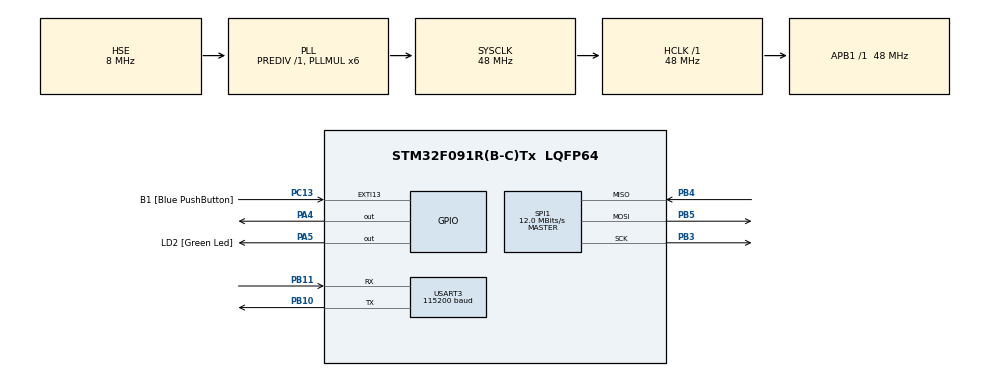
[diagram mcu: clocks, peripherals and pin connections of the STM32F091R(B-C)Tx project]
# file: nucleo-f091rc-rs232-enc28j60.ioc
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Dma.Request0=USART3_RX
Dma.Request1=USART3_TX
Dma.USART3_RX.0.DMA1_Remap_Macro_Arg=HAL_DMA1_CH1_USART3_RX
Dma.USART3_RX.0.Direction=DMA_PERIPH_TO_MEMORY
Dma.USART3_RX.0.Instance=DMA1_Channel1
Dma.USART3_RX.0.MemDataAlignment=DMA_MDATAALIGN_BYTE
Dma.USART3_RX.0.MemInc=DMA_MINC_ENABLE
Dma.USART3_RX.0.Mode=DMA_CIRCULAR
Dma.USART3_RX.0.PeriphDataAlignment=DMA_PDATAALIGN_BYTE
Dma.USART3_RX.0.PeriphInc=DMA_PINC_DISABLE
Dma.USART3_RX.0.Priority=DMA_PRIORITY_LOW
Dma.USART3_RX.0.Request=DMA_REQUEST_10
Dma.USART3_TX.1.DMA1_Remap_Macro_Arg=HAL_DMA1_CH2_USART3_TX
Dma.USART3_TX.1.Direction=DMA_MEMORY_TO_PERIPH
Dma.USART3_TX.1.Instance=DMA1_Channel2
Dma.USART3_TX.1.MemDataAlignment=DMA_MDATAALIGN_BYTE
Dma.USART3_TX.1.MemInc=DMA_MINC_DISABLE
Dma.USART3_TX.1.Mode=DMA_NORMAL
Dma.USART3_TX.1.PeriphDataAlignment=DMA_PDATAALIGN_BYTE
Dma.USART3_TX.1.PeriphInc=DMA_PINC_DISABLE
Dma.USART3_TX.1.Priority=DMA_PRIORITY_LOW
Dma.USART3_TX.1.Request=DMA_REQUEST_10
Mcu.Family=STM32F0
Mcu.Name=STM32F091R(B-C)Tx
Mcu.Package=LQFP64
NVIC.DMA1_Ch1_IRQn=true\:0\:0\:false
NVIC.DMA1_Ch2_3_DMA2_Ch1_2_IRQn=true\:0\:0\:false
NVIC.SPI1_IRQn=true\:0\:0\:false
PA13.GPIO_Label=TMS
PA13.Mode=Serial-WireDebug
PA13.Signal=SYS_SWDIO
PA14.GPIO_Label=TCK
PA14.Mode=Serial-WireDebug
PA14.Signal=SYS_SWCLK
PA2.GPIO_Label=USART_TX
PA2.GPIO_Mode=GPIO_MODE_AF_PP
PA2.GPIO_PuPd=GPIO_NOPULL
PA2.GPIO_Speed=GPIO_SPEED_LOW
PA2.Signal=USART2_TX
PA3.GPIO_Label=USART_RX
PA3.GPIO_Mode=GPIO_MODE_AF_PP
PA3.GPIO_PuPd=GPIO_NOPULL
PA3.GPIO_Speed=GPIO_SPEED_LOW
PA3.Signal=USART2_RX
PA4.Signal=GPIO_Output
PA5.GPIO_Label=LD2 [Green Led]
PA5.GPIO_Mode=GPIO_MODE_OUTPUT_PP
PA5.GPIO_ModeDefaultOutputPP=GPIO_MODE_OUTPUT_PP
PA5.GPIO_PuPd=GPIO_NOPULL
PA5.GPIO_Speed=GPIO_SPEED_LOW
PA5.Signal=GPIO_Output
PB10.Mode=Asynchronous
PB10.Signal=USART3_TX
PB11.Mode=Asynchronous
PB11.Signal=USART3_RX
PB3.Mode=Full_Duplex_Master
PB3.Signal=SPI1_SCK
PB4.Mode=Full_Duplex_Master
PB4.Signal=SPI1_MISO
PB5.Mode=Full_Duplex_Master
PB5.Signal=SPI1_MOSI
PC13.GPIO_Label=B1 [Blue PushButton]
PC13.GPIO_ModeDefaultEXTI=GPIO_MODE_EVT_RISING
PC13.GPIO_PuPd=GPIO_NOPULL
PC13.Signal=GPXTI13
PC14OSC32_IN.Signal=RCC_OSC32_IN
PC15OSC32_OUT.Signal=RCC_OSC32_OUT
PF0-OSC_IN.Mode=HSE-External-Clock-Source
PF0-OSC_IN.Signal=RCC_OSC_IN
PF1-OSC_OUT.Signal=RCC_OSC_OUT
ProjectManager.TargetToolchain=SW4STM32
RCC.AHBFreq_Value=48000000
RCC.APB1Freq_Value=48000000
RCC.APB1TimFreq_Value=48000000
RCC.FLatency-AdvancedSettings=FLASH_LATENCY_1
RCC.HCLKFreq_Value=48000000
RCC.PLLMUL=RCC_PLL_MUL6
RCC.PLLSource=RCC_PLLSOURCE_HSE
RCC.PREFETCH_ENABLE-AdvancedSettings=1
RCC.SYSCLKFreq_VALUE=48000000
RCC.SYSCLKSource=RCC_SYSCLKSOURCE_PLLCLK
SPI1.BaudRatePrescaler=SPI_BAUDRATEPRESCALER_4
SPI1.CRCCalculation=SPI_CRCCALCULATION_DISABLED
SPI1.CalculateBaudRate=12.0 MBits/s
SPI1.DataSize=SPI_DATASIZE_8BIT
SPI1.Mode=SPI_MODE_MASTER
USART3.BaudRate=115200
USART3.OverSampling=UART_OVERSAMPLING_8
USART3.Parity=UART_PARITY_NONE
USART3.StopBits=UART_STOPBITS_1
USART3.WordLength=UART_WORDLENGTH_8B
board=custom

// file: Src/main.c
/**
  ******************************************************************************
  * File Name          : main.c
  * Description        : Main program body
  ******************************************************************************
  *
  * COPYRIGHT(c) 2015 STMicroelectronics
  *
  * Redistribution and use in source and binary forms, with or without modification,
  * are permitted provided that the following conditions are met:
  *   1. Redistributions of source code must retain the above copyright notice,
  *      this list of conditions and the following disclaimer.
  *   2. Redistributions in binary form must reproduce the above copyright notice,
  *      this list of conditions and the following disclaimer in the documentation
  *      and/or other materials provided with the distribution.
  *   3. Neither the name of STMicroelectronics nor the names of its contributors
  *      may be used to endorse or promote products derived from this software
  *      without specific prior written permission.
  *
  * THIS SOFTWARE IS PROVIDED BY THE COPYRIGHT HOLDERS AND CONTRIBUTORS "AS IS"
  * AND ANY EXPRESS OR IMPLIED WARRANTIES, INCLUDING, BUT NOT LIMITED TO, THE
  * IMPLIED WARRANTIES OF MERCHANTABILITY AND FITNESS FOR A PARTICULAR PURPOSE ARE
  * DISCLAIMED. IN NO EVENT SHALL THE COPYRIGHT HOLDER OR CONTRIBUTORS BE LIABLE
  * FOR ANY DIRECT, INDIRECT, INCIDENTAL, SPECIAL, EXEMPLARY, OR CONSEQUENTIAL
  * DAMAGES (INCLUDING, BUT NOT LIMITED TO, PROCUREMENT OF SUBSTITUTE GOODS OR
  * SERVICES; LOSS OF USE, DATA, OR PROFITS; OR BUSINESS INTERRUPTION) HOWEVER
  * CAUSED AND ON ANY THEORY OF LIABILITY, WHETHER IN CONTRACT, STRICT LIABILITY,
  * OR TORT (INCLUDING NEGLIGENCE OR OTHERWISE) ARISING IN ANY WAY OUT OF THE USE
  * OF THIS SOFTWARE, EVEN IF ADVISED OF THE POSSIBILITY OF SUCH DAMAGE.
  *
  ******************************************************************************
  */
#include "stm32f0xx_hal.h"

/* USER CODE BEGIN Includes */

#include <string.h>
#include "EtherShield.h"
#define NET_BUF_SIZE (1<<10)
#define UART_BUF_SIZE (NET_BUF_SIZE << 2)

#define MAX(a,b) ((a)>(b)?(a):(b))
#define BUF_SIZE MAX(NET_BUF_SIZE, UART_BUF_SIZE)

/* USER CODE END Includes */

SPI_HandleTypeDef hspi1;

UART_HandleTypeDef huart3;
DMA_HandleTypeDef hdma_usart3_rx;
DMA_HandleTypeDef hdma_usart3_tx;

/* USER CODE BEGIN PV */
/* Private variables ---------------------------------------------------------*/

/* USER CODE END PV */

void SystemClock_Config(void);
static void MX_GPIO_Init(void);
static void MX_DMA_Init(void);
static void MX_SPI1_Init(void);
static void MX_USART3_UART_Init(void);

/* USER CODE BEGIN PFP */
/* Private function prototypes -----------------------------------------------*/

void error (float error_num, char infinite) {
	//printf("%u\r\n", error_num);
	if (infinite)
		while (1) {
			int i = 0;
			while (i++ < ((int)((float)(error_num) / 1) + 1) ) {
				GPIOA->BSRR = GPIO_PIN_5;
				HAL_Delay(1000 / error_num);
				GPIOA->BSRR = GPIO_PIN_5 << 16;
				HAL_Delay(1000 / error_num);
			}
		};

	GPIOA->BSRR = GPIO_PIN_5;
	HAL_Delay(1000);
	GPIOA->BSRR = GPIO_PIN_5 << 16;

	int i=0;
	while (i++ < error_num) {
		GPIOA->BSRR = GPIO_PIN_5;
		HAL_Delay(300);
		GPIOA->BSRR = GPIO_PIN_5 << 16;
		HAL_Delay(200);
	}

	HAL_Delay(500);
	NVIC_SystemReset();

	return;
}

static inline void blink(int times, int delay) {
	int i = 0;
	while (i++ < times) {
		GPIOA->BSRR = GPIO_PIN_5;
		HAL_Delay(delay);
		GPIOA->BSRR = GPIO_PIN_5 << 16;
		HAL_Delay(delay);
	}

	return;
}

void ES_PingCallback(void) {
}

uint16_t get_udp_data_len(uint8_t *buf)
{
	int16_t i;
	i=(((int16_t)buf[IP_TOTLEN_H_P])<<8)|(buf[IP_TOTLEN_L_P]&0xff);
	i-=IP_HEADER_LEN;
	i-=8;
	if (i<=0){
		i=0;
	}
	return((uint16_t)i);
}

static uint16_t info_data_len = 0;
uint16_t packetloop_icmp_udp(uint8_t *buf,uint16_t plen)
{
	if(eth_type_is_arp_and_my_ip(buf,plen)){
		if (buf[ETH_ARP_OPCODE_L_P]==ETH_ARP_OPCODE_REQ_L_V){
			// is it an arp request
			make_arp_answer_from_request(buf);
		}
		return(0);

	}
	// check if ip packets are for us:
	if(eth_type_is_ip_and_my_ip(buf,plen)==0){
		return(0);
	}

	if(buf[IP_PROTO_P]==IP_PROTO_ICMP_V && buf[ICMP_TYPE_P]==ICMP_TYPE_ECHOREQUEST_V){
		make_echo_reply_from_request(buf,plen);
		return(0);
	}

	if (buf[IP_PROTO_P]==IP_PROTO_UDP_V) {
		info_data_len=get_udp_data_len(buf);
		return(IP_HEADER_LEN+8+14);
	}

	return(0);
}

/* USER CODE END PFP */

int main(void)
{

  /* MCU Configuration----------------------------------------------------------*/

  /* Reset of all peripherals, Initializes the Flash interface and the Systick. */
  HAL_Init();

  /* Configure the system clock */
  SystemClock_Config();

  /* Initialize all configured peripherals */
  MX_GPIO_Init();
  MX_DMA_Init();
  MX_SPI1_Init();
  MX_USART3_UART_Init();

  /* Infinite loop */
  /* USER CODE BEGIN WHILE */
	static uint8_t uart_buf[UART_BUF_SIZE], *uart_buf_parsed, *uart_buf_filled, *uart_buf_end;

	uint16_t netanswer_initialpacket_len = 0;
	uint8_t  mac[] = {02, 03, 04, 05, 06, 07};
	uint8_t  ip[]  = {10,  4, 33, 123};
	static uint8_t net_buf[NET_BUF_SIZE + 1];
	static uint8_t netanswer_buf[NET_BUF_SIZE + 1];

	uart_buf_parsed =  uart_buf;
	{
		HAL_StatusTypeDef r = HAL_UART_Receive_DMA(&huart3, uart_buf, UART_BUF_SIZE);
		if (r != HAL_OK)
			error(r, 0);
	}
	uart_buf_end    = &uart_buf[UART_BUF_SIZE];

	/* // USART echo node (simple)
	while (1)
	{
		if (HAL_UART_Receive(&huart3, uart_buf, UART_BUF_SIZE, 0) == HAL_OK) {
			HAL_UART_Transmit(&huart3, uart_buf, 1, 0xffffffff);
		}
	}
	*/

	/* // USART echo node (DMA)
	while (1)
	{
		uart_buf_filled = &uart_buf[UART_BUF_SIZE - huart3.hdmarx->Instance->CNDTR];
		while (uart_buf_parsed != uart_buf_filled) {
			uint16_t outlen;

			if (uart_buf_filled > uart_buf_parsed) {
				outlen = uart_buf_filled - uart_buf_parsed;
			} else {
				outlen = uart_buf_end    - uart_buf_parsed;
			}

			HAL_UART_Transmit(&huart3, uart_buf_parsed, outlen, 0xffffffff);

			uart_buf_parsed += outlen;

			if (uart_buf_parsed >= uart_buf_end)
				uart_buf_parsed = uart_buf;
		}
	}
	*/

	ES_enc28j60SpiInit(&hspi1);
	ES_enc28j60Init(mac);

	uint8_t enc28j60_rev = ES_enc28j60Revision();

	if (enc28j60_rev <= 0)
		error(2, 0);

	ES_init_ip_arp_udp_tcp(mac, ip, 80);

	/* // UDP echo server
	while (1)
	{
		dat_p = packetloop_icmp_udp(net_buf, ES_enc28j60PacketReceive(NET_BUF_SIZE, net_buf));
		if (dat_p != 0) {
			memcpy(buf, &net_buf[dat_p], info_data_len);
			make_udp_reply_from_request(net_buf, (char *)buf, info_data_len, 23);
		}
	}
	*/

	while (1)
	{
		uint16_t dat_p;

		uart_buf_filled = &uart_buf[UART_BUF_SIZE - huart3.hdmarx->Instance->CNDTR];
		while (uart_buf_parsed != uart_buf_filled) {
			uint16_t outlen;

			if (uart_buf_filled > uart_buf_parsed) {
				outlen = uart_buf_filled - uart_buf_parsed;
			} else {
				outlen = uart_buf_end    - uart_buf_parsed;
			}

			if (netanswer_initialpacket_len != 0) {
				memcpy(net_buf, netanswer_buf, netanswer_initialpacket_len);
				make_udp_reply_from_request(net_buf, (char *)uart_buf_parsed, outlen, 23);
			}

			uart_buf_parsed += outlen;

			if (uart_buf_parsed >= uart_buf_end)
				uart_buf_parsed = uart_buf;
		}

/*
		while (HAL_UART_Receive(&huart3, uart_buf, UART_BUF_SIZE, 0xff) == HAL_OK) {
			if (dat_p != 0) {
				make_udp_reply_from_request(net_buf, (char *)uart_buf, UART_BUF_SIZE, 23);
			}
			HAL_Delay(400);
		}
*/
		dat_p = packetloop_icmp_udp(net_buf, ES_enc28j60PacketReceive(NET_BUF_SIZE, net_buf));

		if (dat_p == 0)
			continue;

		netanswer_initialpacket_len = dat_p+info_data_len;
		memcpy(netanswer_buf, net_buf, dat_p+info_data_len);

		HAL_UART_Transmit(&huart3, &net_buf[dat_p], info_data_len, 0xffffffff);

  /* USER CODE END WHILE */

	}

}

/** System Clock Configuration
*/
void SystemClock_Config(void)
{

  RCC_OscInitTypeDef RCC_OscInitStruct;
  RCC_ClkInitTypeDef RCC_ClkInitStruct;
  RCC_PeriphCLKInitTypeDef PeriphClkInit;

  RCC_OscInitStruct.OscillatorType = RCC_OSCILLATORTYPE_HSE;
  RCC_OscInitStruct.HSEState = RCC_HSE_BYPASS;
  RCC_OscInitStruct.PLL.PLLState = RCC_PLL_ON;
  RCC_OscInitStruct.PLL.PLLSource = RCC_PLLSOURCE_HSE;
  RCC_OscInitStruct.PLL.PLLMUL = RCC_PLL_MUL6;
  RCC_OscInitStruct.PLL.PREDIV = RCC_PREDIV_DIV1;
  HAL_RCC_OscConfig(&RCC_OscInitStruct);

  RCC_ClkInitStruct.ClockType = RCC_CLOCKTYPE_SYSCLK;
  RCC_ClkInitStruct.SYSCLKSource = RCC_SYSCLKSOURCE_PLLCLK;
  RCC_ClkInitStruct.AHBCLKDivider = RCC_SYSCLK_DIV1;
  RCC_ClkInitStruct.APB1CLKDivider = RCC_HCLK_DIV1;
  HAL_RCC_ClockConfig(&RCC_ClkInitStruct, FLASH_LATENCY_1);

  PeriphClkInit.PeriphClockSelection = RCC_PERIPHCLK_USART3;
  PeriphClkInit.Usart3ClockSelection = RCC_USART3CLKSOURCE_PCLK1;
  HAL_RCCEx_PeriphCLKConfig(&PeriphClkInit);

  HAL_SYSTICK_Config(HAL_RCC_GetHCLKFreq()/1000);

  HAL_SYSTICK_CLKSourceConfig(SYSTICK_CLKSOURCE_HCLK);

}

/* SPI1 init function */
void MX_SPI1_Init(void)
{

  hspi1.Instance = SPI1;
  hspi1.Init.Mode = SPI_MODE_MASTER;
  hspi1.Init.Direction = SPI_DIRECTION_2LINES;
  hspi1.Init.DataSize = SPI_DATASIZE_8BIT;
  hspi1.Init.CLKPolarity = SPI_POLARITY_LOW;
  hspi1.Init.CLKPhase = SPI_PHASE_1EDGE;
  hspi1.Init.NSS = SPI_NSS_SOFT;
  hspi1.Init.BaudRatePrescaler = SPI_BAUDRATEPRESCALER_4;
  hspi1.Init.FirstBit = SPI_FIRSTBIT_MSB;
  hspi1.Init.TIMode = SPI_TIMODE_DISABLED;
  hspi1.Init.CRCCalculation = SPI_CRCCALCULATION_DISABLED;
  hspi1.Init.CRCPolynomial = 10;
  hspi1.Init.CRCLength = SPI_CRC_LENGTH_DATASIZE;
  hspi1.Init.NSSPMode = SPI_NSS_PULSE_ENABLED;
  HAL_SPI_Init(&hspi1);

}

/* USART3 init function */
void MX_USART3_UART_Init(void)
{

  huart3.Instance = USART3;
  huart3.Init.BaudRate = 115200;
  huart3.Init.WordLength = UART_WORDLENGTH_8B;
  huart3.Init.StopBits = UART_STOPBITS_1;
  huart3.Init.Parity = UART_PARITY_NONE;
  huart3.Init.Mode = UART_MODE_TX_RX;
  huart3.Init.HwFlowCtl = UART_HWCONTROL_NONE;
  huart3.Init.OverSampling = UART_OVERSAMPLING_8;
  huart3.Init.OneBitSampling = UART_ONEBIT_SAMPLING_DISABLED;
  huart3.AdvancedInit.AdvFeatureInit = UART_ADVFEATURE_NO_INIT;
  HAL_UART_Init(&huart3);

}

void MX_DMA_Init(void)
{
  /* DMA controller clock enable */
  __DMA1_CLK_ENABLE();

  /* DMA interrupt init */
  HAL_NVIC_SetPriority(DMA1_Ch1_IRQn, 0, 0);
  HAL_NVIC_EnableIRQ(DMA1_Ch1_IRQn);
  HAL_NVIC_SetPriority(DMA1_Ch2_3_DMA2_Ch1_2_IRQn, 0, 0);
  HAL_NVIC_EnableIRQ(DMA1_Ch2_3_DMA2_Ch1_2_IRQn);

}

/** Configure pins as
        * Analog
        * Input
        * Output
        * EVENT_OUT
        * EXTI
     PA2   ------> USART2_TX
     PA3   ------> USART2_RX
*/
void MX_GPIO_Init(void)
{

  GPIO_InitTypeDef GPIO_InitStruct;

  /* GPIO Ports Clock Enable */
  __GPIOC_CLK_ENABLE();
  __GPIOF_CLK_ENABLE();
  __GPIOA_CLK_ENABLE();
  __GPIOB_CLK_ENABLE();

  /*Configure GPIO pin : PC13 */
  GPIO_InitStruct.Pin = GPIO_PIN_13;
  GPIO_InitStruct.Mode = GPIO_MODE_EVT_RISING;
  GPIO_InitStruct.Pull = GPIO_NOPULL;
  HAL_GPIO_Init(GPIOC, &GPIO_InitStruct);

  /*Configure GPIO pins : PA2 PA3 */
  GPIO_InitStruct.Pin = GPIO_PIN_2|GPIO_PIN_3;
  GPIO_InitStruct.Mode = GPIO_MODE_AF_PP;
  GPIO_InitStruct.Pull = GPIO_NOPULL;
  GPIO_InitStruct.Speed = GPIO_SPEED_LOW;
  GPIO_InitStruct.Alternate = GPIO_AF1_USART2;
  HAL_GPIO_Init(GPIOA, &GPIO_InitStruct);

  /*Configure GPIO pins : PA4 PA5 */
  GPIO_InitStruct.Pin = GPIO_PIN_4|GPIO_PIN_5;
  GPIO_InitStruct.Mode = GPIO_MODE_OUTPUT_PP;
  GPIO_InitStruct.Pull = GPIO_NOPULL;
  GPIO_InitStruct.Speed = GPIO_SPEED_LOW;
  HAL_GPIO_Init(GPIOA, &GPIO_InitStruct);

}

/************************ (C) COPYRIGHT STMicroelectronics *****END OF FILE****/
